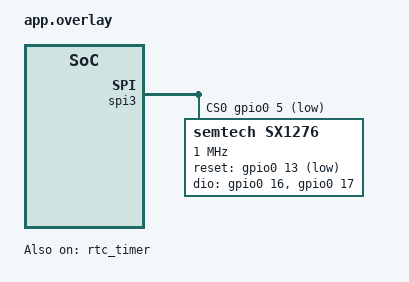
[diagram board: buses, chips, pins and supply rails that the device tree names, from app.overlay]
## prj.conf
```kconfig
CONFIG_GPIO=y
CONFIG_MIN_HEAP=y
CONFIG_ZMS=y
CONFIG_FLASH=y
CONFIG_FLASH_MAP=y

CONFIG_LOG=y
CONFIG_LOG_DEFAULT_LEVEL=3

CONFIG_SPI_LOG_LEVEL_WRN=y
CONFIG_FLASH_LOG_LEVEL_WRN=y
CONFIG_CLOCK_CONTROL_LOG_LEVEL_WRN=y

CONFIG_LORA=y
CONFIG_LORAWAN=y
CONFIG_LORAWAN_SYSTEM_MAX_RX_ERROR=100
CONFIG_LORAWAN_REGION_EU868=y

CONFIG_LORIS=y
CONFIG_STACK_SENTINEL=y
CONFIG_MAIN_STACK_SIZE=16384
CONFIG_SYSTEM_WORKQUEUE_STACK_SIZE=4096
CONFIG_LOG_MODE_IMMEDIATE=y

# CONFIG_PM=y
# CONFIG_PM_DEVICE=y
# CONFIG_PM_LOG_LEVEL_DBG=y
# 
# CONFIG_COUNTER=y
```

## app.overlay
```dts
/ {
  aliases {
    lora0 = &sx1276;
  };
};

&spi3 {
  status = "okay";
  cs-gpios = <&gpio0 5 (GPIO_ACTIVE_LOW | GPIO_PULL_UP)>;

  sx1276: lora@0 {
    compatible = "semtech,sx1276";
    reg = <0>;

    reset-gpios = <&gpio0 13 GPIO_ACTIVE_LOW>;

    // order of dio pins matters - idx 0 -> DIO0, idx 1 -> DIO1 and so on
    dio-gpios = <&gpio0 16 (GPIO_PULL_DOWN | GPIO_ACTIVE_HIGH)>,
      <&gpio0 17 (GPIO_PULL_DOWN | GPIO_ACTIVE_HIGH)>;
    spi-max-frequency = <1000000>;
    power-amplifier-output = "pa-boost";
  };
};

&rtc_timer {
  status = "okay";
  wakeup-source;
};
```

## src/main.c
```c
#include "loris/lorawan.h"
#include "loris/loris.h"
#include "loris/models/capabilities.h"
#include "loris/models/function.h"
#include "loris/models/report.h"
#include "zephyr/sys/printk.h"

#include <zephyr/logging/log.h>
#include <zephyr/lorawan/lorawan.h>

#define LORAWAN_DEV_EUI { 0x5b, 0xd1, 0x3f, 0x6a, 0xd9, 0x5e, 0xe2, 0x1c }
#define LORAWAN_JOIN_EUI { 0x52, 0xf1, 0xcc, 0xb8, 0x84, 0xf6, 0xdc, 0x7c }
#define LORAWAN_APP_KEY                                                        \
  { 0xd9, 0xc7, 0xae, 0xd4, 0x2c, 0x8e, 0x86, 0xed,                            \
    0x21, 0x8e, 0x13, 0xf3, 0x3f, 0x86, 0xeb, 0x38 }

LOG_MODULE_REGISTER(lorawan_main_test, LOG_LEVEL_INF);

#define REJOIN_RETRY_SECONDS 30

report_t temp_report(sensor_t* sensor) {
  report_t sample_report = { .sensor_id = 1,
                             .value.int_val = 22,
                             .which_value = REPORT_VALUE_INT };
  return sample_report;
}

void hello_world(void* unused) { printk("Hello world! \n"); };

int main() {
  uint8_t dev_eui[] = LORAWAN_DEV_EUI;
  uint8_t join_eui[] = LORAWAN_JOIN_EUI;
  uint8_t app_key[] = LORAWAN_APP_KEY;

  lr_lw_join_otaa_config_t cfg = {
    .dev_eui = dev_eui,
    .join_eui = join_eui,
    .app_key = app_key,
    .nwk_key = app_key,
  };

  while (lr_lw_join_otaa(&cfg, LORAWAN_REGION_EU868) != LR_LW_OK) {
    LOG_ERR("Joining LoRaWAN failed. Trying again in %i", REJOIN_RETRY_SECONDS);
    k_sleep(K_SECONDS(REJOIN_RETRY_SECONDS));
  }

  lr_lw_set_adr_mode(false);
  if (lr_lw_set_datarate(LORAWAN_DR_3) != LR_LW_OK) {
    LOG_ERR("Failed to set datarate!");
  }
  lr_lw_set_adr_mode(true);

  capabilities_t capabilities;

  capabilities_init(&capabilities, "loris_sample", DEVICE_CLASS_A);
  capabilities_add_sensor(
      &capabilities,
      "sample_sensor",
      "Measures temperature in the garden",
      SENSOR_VALUE_TYPE_FLOAT,
      SENSOR_SEMANTICS_TEMPERATURE,
      "C",
      &temp_report,
      10
  );

  capabilities_add_function(
      &capabilities,
      "Hello",
      "Welcomes the world",
      FUNC_ARG_TYPE_VOID,
      &hello_world,
      30
  );

  LOG_INF("Starting main loop");
  lr_start(&capabilities);

  return 0;
}
```
